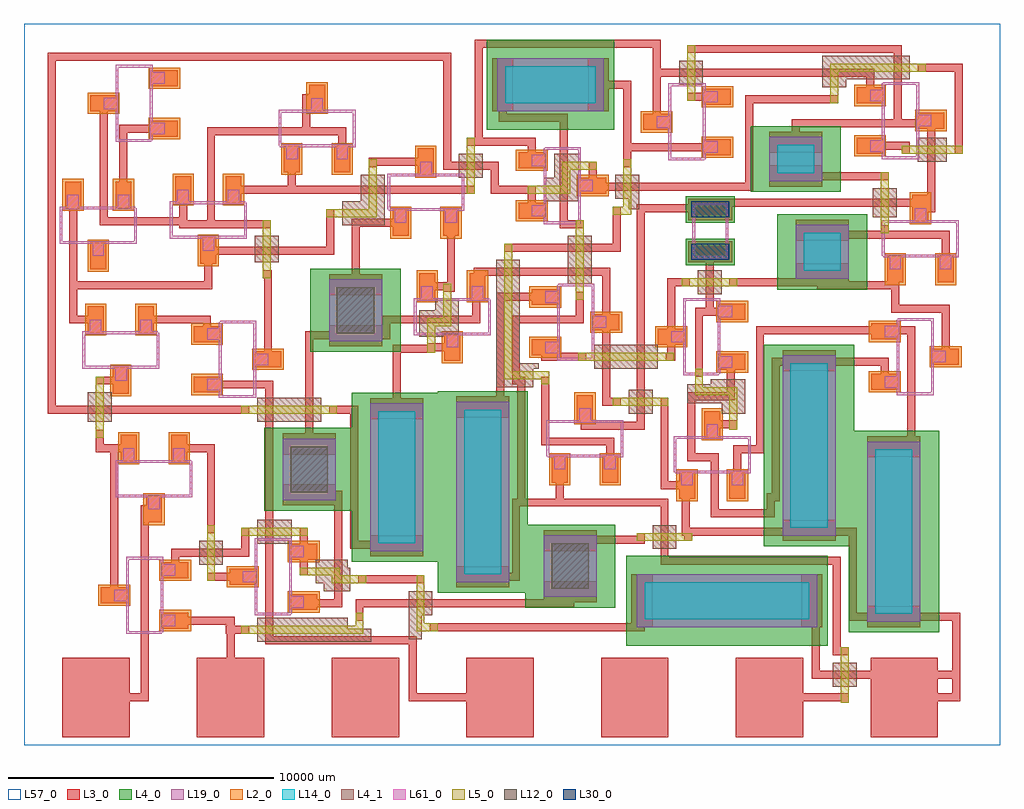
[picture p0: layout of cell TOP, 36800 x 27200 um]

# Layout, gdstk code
from math import pi, radians
import gdstk
lib = gdstk.Library(unit=1e-6, precision=1e-09)
def R(c, l, rs):  # rectangles x0, y0, x1, y1
    for r in rs: c.add(gdstk.rectangle(r[:2], r[2:], *l))
def A(c, l, x, y, w, h, nx, ny, dx, dy):  # array of equal rectangles
    R(c, l, [(x+i*dx, y+j*dy, x+i*dx+w, y+j*dy+h) for i in range(nx) for j in range(ny)])
def P(c, l, *ps):  # polygons
    for p in ps: c.add(gdstk.Polygon(p, *l))
L2_0 = (2, 0)
L3_0 = (3, 0)
L4_0 = (4, 0)
L4_1 = (4, 1)
L5_0 = (5, 0)
L12_0 = (12, 0)
L14_0 = (14, 0)
L19_0 = (19, 0)
L30_0 = (30, 0)
L57_0 = (57, 0)
L61_0 = (61, 0)

c_r1 = lib.new_cell('R1')
R(c_r1, L3_0, [(-2984,-1000,-2184,1000), (2184,-1000,2984,1000)])
R(c_r1, L4_0, [(-3184,-1700,3184,1700)])
R(c_r1, L14_0, [(-2484,-700,2484,700)])
R(c_r1, L19_0, [(-2784,-1000,2784,1000)])

c_r2 = lib.new_cell('R2')
R(c_r2, L3_0, [(-1360,-1000,-560,1000), (560,-1000,1360,1000)])
R(c_r2, L4_0, [(-1560,-1700,1560,1700)])
R(c_r2, L12_0, [(-860,-700,860,700)])
R(c_r2, L19_0, [(-1160,-1000,1160,1000)])

c_r3 = lib.new_cell('R3')
R(c_r3, L3_0, [(-3600,-1000,-2800,1000), (2800,-1000,3600,1000)])
R(c_r3, L4_0, [(-3800,-1700,3800,1700)])
R(c_r3, L14_0, [(-3100,-700,3100,700)])
R(c_r3, L19_0, [(-3400,-1000,3400,1000)])

c_r4 = lib.new_cell('R4')
R(c_r4, L3_0, [(-3600,-1000,-2800,1000), (2800,-1000,3600,1000)])
R(c_r4, L4_0, [(-3800,-1700,3800,1700)])
R(c_r4, L14_0, [(-3100,-700,3100,700)])
R(c_r4, L19_0, [(-3400,-1000,3400,1000)])

c_r5 = lib.new_cell('R5')
R(c_r5, L3_0, [(-1220,-1000,-420,1000), (420,-1000,1220,1000)])
R(c_r5, L4_0, [(-1420,-1700,1420,1700)])
R(c_r5, L14_0, [(-720,-700,720,700)])
R(c_r5, L19_0, [(-1020,-1000,1020,1000)])

c_r6 = lib.new_cell('R6')
R(c_r6, L3_0, [(-1035,-1000,-235,1000), (235,-1000,1035,1000)])
R(c_r6, L4_0, [(-1235,-1700,1235,1700)])
R(c_r6, L14_0, [(-535,-700,535,700)])
R(c_r6, L19_0, [(-835,-1000,835,1000)])

c_r7 = lib.new_cell('R7')
R(c_r7, L3_0, [(-2200,-1000,-1400,1000), (1400,-1000,2200,1000)])
R(c_r7, L4_0, [(-2400,-1700,2400,1700)])
R(c_r7, L14_0, [(-1700,-700,1700,700)])
R(c_r7, L19_0, [(-2000,-1000,2000,1000)])

c_r8 = lib.new_cell('R8')
R(c_r8, L3_0, [(-3600,-1000,-2800,1000), (2800,-1000,3600,1000)])
R(c_r8, L4_0, [(-3800,-1700,3800,1700)])
R(c_r8, L14_0, [(-3100,-700,3100,700)])
R(c_r8, L19_0, [(-3400,-1000,3400,1000)])

c_r9 = lib.new_cell('R9')
R(c_r9, L3_0, [(-1360,-1000,-560,1000), (560,-1000,1360,1000)])
R(c_r9, L4_0, [(-1560,-1700,1560,1700)])
R(c_r9, L12_0, [(-860,-700,860,700)])
R(c_r9, L19_0, [(-1160,-1000,1160,1000)])

r10 = lib.new_cell('R10')
R(r10, L3_0, [(-3600,-1000,-2800,1000), (2800,-1000,3600,1000)])
R(r10, L4_0, [(-3800,-1700,3800,1700)])
R(r10, L14_0, [(-3100,-700,3100,700)])
R(r10, L19_0, [(-3400,-1000,3400,1000)])

r11 = lib.new_cell('R11')
R(r11, L3_0, [(-1360,-1000,-560,1000), (560,-1000,1360,1000)])
R(r11, L4_0, [(-1560,-1700,1560,1700)])
R(r11, L12_0, [(-860,-700,860,700)])
R(r11, L19_0, [(-1160,-1000,1160,1000)])

eia_0805 = lib.new_cell('EIA-0805')
R(eia_0805, L3_0, [(-200,-200,600,1450), (1400,-200,2200,1450)])
R(eia_0805, L4_0, [(-300,-300,700,1550), (1300,-300,2300,1550)])
R(eia_0805, L30_0, [(-100,-100,500,1350), (1500,-100,2100,1350)])
eia_0805.add(gdstk.FlexPath([(0,0),(2000,0),(2000,1250),(0,1250),(0,0)], 100, ends="flush", simple_path=True, layer=61, datatype=0))  # L61_0
eia_0805.add(gdstk.Label('C', (1000,625), layer=62, texttype=0))

sot_23 = lib.new_cell('SOT-23')
R(sot_23, L2_0, [(50,-1100,850,100), (1950,-1100,2750,100), (1000,1200,1800,2400)])
R(sot_23, L3_0, [(150,-1000,750,0), (2050,-1000,2650,0), (1100,1300,1700,2300)])
R(sot_23, L61_0, [(235,-500,665,-150), (2135,-500,2565,-150), (235,-150,665,0), (2135,-150,2565,0), (1185,1300,1615,1450), (1185,1450,1615,1800)])
sot_23.add(gdstk.FlexPath([(0,0),(2800,0),(2800,1300),(0,1300),(0,0)], 100, ends="flush", simple_path=True, layer=61, datatype=0))  # L61_0
sot_23.add(gdstk.Label('1', (360,-650), layer=3, texttype=0))
sot_23.add(gdstk.Label('2', (2260,-650), layer=3, texttype=0))
sot_23.add(gdstk.Label('3', (1310,1650), layer=3, texttype=0))
sot_23.add(gdstk.Label('U', (1400,650), layer=62, texttype=0))

top = lib.new_cell('TOP')
A(top, L3_0, 7240, -21500, 2540, 3000, 7, 1, 5080, 0)
R(top, L3_0, [(36600,-20200,36900,-19900), (36600,-18400,36900,-18100), (14000,-17600,14300,-17300), (21100,-17500,21400,-17200), (18300,-17100,18600,-16800), (18400,-15700,18700,-15400), (20600,-15700,20900,-15400), (12700,-15600,13000,-15300), (16200,-15400,16500,-15100), (28900,-14100,29200,-13800), (30700,-14100,31000,-13800), (14000,-13900,14300,-13600), (16200,-13900,16500,-13600), (12700,-13800,13000,-13500), (8500,-10200,8800,-9900), (32400,-9900,32700,-9600), (14000,-9300,14300,-9000), (17300,-9300,17600,-9000), (28000,-9000,28300,-8700), (29800,-9000,30100,-8700), (8500,-8200,8800,-7900), (25300,-8200,25600,-7900), (31100,-7900,31400,-7600), (26700,-7300,27000,-7000), (30000,-7300,30300,-7000), (21000,-7000,21300,-6700), (26600,-5000,26900,-4700), (21600,-4700,21900,-4400), (30600,-4500,30900,-4200), (32400,-4500,32700,-4200), (14800,-4200,15100,-3900), (23900,-3200,24200,-2900), (38100,-2500,38400,-2200), (14800,-2300,15100,-2000), (26600,-2300,26900,-2000), (17200,-1900,17500,-1600), (28000,-1800,28300,-1500), (22500,-1000,22800,-700), (24800,-1000,25100,-700), (38100,-500,38400,-200), (27100,-100,27400,200), (18800,0,19100,300), (28400,0,28700,300), (38900,500,39200,800), (40900,500,41200,800), (22500,800,22800,1100), (36200,2400,36500,2700), (30800,2500,31100,2800), (39500,3600,39800,3900), (30800,4300,31100,4600)])
R(top, L4_1, [(36300,-19600,37200,-18700), (12400,-15000,13300,-14100), (29500,-14400,30400,-13500), (14600,-14200,15900,-13300), (8200,-9600,9100,-8500), (14600,-9600,17000,-8700), (28600,-9300,29500,-8400), (27300,-7600,29700,-6700), (31200,-4800,32100,-3900), (26300,-4400,27200,-2600), (14500,-3600,15400,-2600), (37800,-1900,38700,-800), (22200,-400,23100,500), (39500,200,40600,1100), (30500,3100,31400,4000)])
P(top, L4_1, [(32100,-8900),(30800,-8900),(30800,-8200),(31700,-8200),(31700,-8000),(33000,-8000),(33000,-9300),(32100,-9300)],
  [(20700,-6400),(20700,-5400),(21300,-5400),(21300,-5000),(22200,-5000),(22200,-6300),(21600,-6300),(21600,-6400)],
  [(14600,-17900),(14600,-17000),(18000,-17000),(18000,-17400),(18900,-17400),(18900,-17900)],
  [(28600,-1600),(28600,-1200),(28100,-1200),(28100,-300),(29000,-300),(29000,-1600)],
  [(25000,-8300),(23600,-8300),(23600,-3500),(24500,-3500),(24500,-7400),(25200,-7400),(25200,-7600),(25000,-7600)],
  [(17800,-2200),(17800,-1300),(18500,-1300),(18500,-300),(19400,-300),(19400,-2200)],
  [(18100,-16000),(17100,-16000),(17100,-15700),(16800,-15700),(16800,-14800),(18000,-14800),(18000,-15100),(18100,-15100)],
  [(21200,-16000),(21200,-16900),(20800,-16900),(20800,-17800),(20300,-17800),(20300,-16000)],
  [(25400,-1300),(25400,-400),(25800,-400),(25800,500),(26800,500),(26800,-400),(26700,-400),(26700,-1300)],
  [(35900,3000),(35900,4200),(39200,4200),(39200,3300),(36800,3300),(36800,3000)])
R(top, L5_0, [(36600,-20200,36900,-19900), (36600,-18400,36900,-18100), (14000,-17600,14300,-17300), (21100,-17500,21400,-17200), (18300,-17100,18600,-16800), (18400,-15700,18700,-15400), (20600,-15700,20900,-15400), (12700,-15600,13000,-15300), (16200,-15400,16500,-15100), (28900,-14100,29200,-13800), (30700,-14100,31000,-13800), (14000,-13900,14300,-13600), (16200,-13900,16500,-13600), (12700,-13800,13000,-13500), (8500,-10200,8800,-9900), (32400,-9900,32700,-9600), (14000,-9300,14300,-9000), (17300,-9300,17600,-9000), (28000,-9000,28300,-8700), (29800,-9000,30100,-8700), (8500,-8200,8800,-7900), (25300,-8200,25600,-7900), (31100,-7900,31400,-7600), (26700,-7300,27000,-7000), (30000,-7300,30300,-7000), (21000,-7000,21300,-6700), (26600,-5000,26900,-4700), (21600,-4700,21900,-4400), (30600,-4500,30900,-4200), (32400,-4500,32700,-4200), (14800,-4200,15100,-3900), (23900,-3200,24200,-2900), (38100,-2500,38400,-2200), (14800,-2300,15100,-2000), (26600,-2300,26900,-2000), (17200,-1900,17500,-1600), (28000,-1800,28300,-1500), (22500,-1000,22800,-700), (24800,-1000,25100,-700), (38100,-500,38400,-200), (27100,-100,27400,200), (18800,0,19100,300), (28400,0,28700,300), (38900,500,39200,800), (40900,500,41200,800), (22500,800,22800,1100), (36200,2400,36500,2700), (30800,2500,31100,2800), (39500,3600,39800,3900), (30800,4300,31100,4600)])
R(top, L57_0, [(5800,-21800,42600,5400)])
top.add(gdstk.FlexPath([(12700,-6300),(12700,-5750),(10400,-5750)], 300, ends="round", simple_path=True, layer=3, datatype=0))  # L3_0
top.add(gdstk.FlexPath([(20000,-2100),(18300,-2100),(18300,-4440)], 300, ends="round", simple_path=True, layer=3, datatype=0))  # L3_0
top.add(gdstk.FlexPath([(9550,-1050),(9550,1450),(11100,1450)], 300, ends="round", simple_path=True, layer=3, datatype=0))  # L3_0
top.add(gdstk.FlexPath([(16350,-16450),(17650,-16450),(17650,-12350),(16550,-12350)], 300, ends="round", simple_path=True, layer=3, datatype=0))  # L3_0
top.add(gdstk.FlexPath([(25450,-4900),(23750,-4900),(23750,-9050),(23100,-9050)], 300, ends="round", simple_path=True, layer=3, datatype=0))  # L3_0
top.add(gdstk.FlexPath([(32450,-7350),(32450,-8650),(30950,-8650),(30950,-10950),(31850,-10950),(31850,-13050),(33950,-13050),(33950,-12450),(34150,-12450),(34150,-7350),(38250,-7350),(38250,-8150)], 300, ends="round", simple_path=True, layer=3, datatype=0))  # L3_0
top.add(gdstk.FlexPath([(14050,-15450),(12850,-15450)], 300, ends="round", simple_path=True, layer=3, datatype=0))  # L3_0
top.add(gdstk.FlexPath([(12850,-13650),(12850,-10600),(11650,-10600)], 300, ends="round", simple_path=True, layer=3, datatype=0))  # L3_0
top.add(gdstk.FlexPath([(31750,-9700),(32550,-9700)], 300, ends="round", simple_path=True, layer=3, datatype=0))  # L3_0
top.add(gdstk.FlexPath([(31250,-7750),(31250,-5450),(32500,-5450)], 300, ends="round", simple_path=True, layer=3, datatype=0))  # L3_0
top.add(gdstk.FlexPath([(31650,-5450),(31650,-3250)], 300, ends="round", simple_path=True, layer=3, datatype=0))  # L3_0
top.add(gdstk.FlexPath([(9450,-8050),(8650,-8050)], 300, ends="round", simple_path=True, layer=3, datatype=0))  # L3_0
top.add(gdstk.FlexPath([(8650,-10050),(8650,-10600),(9750,-10600)], 300, ends="round", simple_path=True, layer=3, datatype=0))  # L3_0
top.add(gdstk.FlexPath([(9200,-10650),(9200,-16150)], 300, ends="round", simple_path=True, layer=3, datatype=0))  # L3_0
top.add(gdstk.FlexPath([(21000,-4500),(21750,-4500)], 300, ends="round", simple_path=True, layer=3, datatype=0))  # L3_0
top.add(gdstk.FlexPath([(21150,-6800),(21950,-6800)], 300, ends="round", simple_path=True, layer=3, datatype=0))  # L3_0
top.add(gdstk.FlexPath([(21750,-4550),(21900,-4550),(21900,-2100)], 300, ends="round", simple_path=True, layer=3, datatype=0))  # L3_0
top.add(gdstk.FlexPath([(21150,-6850),(19850,-6850),(19850,-9116)], 300, ends="round", simple_path=True, layer=3, datatype=0))  # L3_0
top.add(gdstk.FlexPath([(40550,-3850),(40550,-2550),(35850,-2550)], 300, ends="round", simple_path=True, layer=3, datatype=0))  # L3_0
top.add(gdstk.FlexPath([(38250,-350),(34850,-350)], 300, ends="round", simple_path=True, layer=3, datatype=0))  # L3_0
top.add(gdstk.FlexPath([(8510,-20000),(10350,-20000),(10350,-12900),(10700,-12900)], 300, ends="round", simple_path=True, layer=3, datatype=0))  # L3_0
top.add(gdstk.FlexPath([(32700,-12000),(32700,-10650),(33550,-10650),(33550,-6150),(39250,-6150),(39250,-10550),(38600,-10550)], 300, ends="round", simple_path=True, layer=3, datatype=0))  # L3_0
top.add(gdstk.FlexPath([(30200,-7150),(30200,-4350),(30750,-4350)], 300, ends="round", simple_path=True, layer=3, datatype=0))  # L3_0
top.add(gdstk.FlexPath([(26850,-7150),(25450,-7150),(25450,-6800)], 300, ends="round", simple_path=True, layer=3, datatype=0))  # L3_0
top.add(gdstk.FlexPath([(32550,-4350),(35900,-4350),(35900,-4020)], 300, ends="round", simple_path=True, layer=3, datatype=0))  # L3_0
top.add(gdstk.FlexPath([(35850,-4450),(38650,-4450),(38650,-3850)], 300, ends="round", simple_path=True, layer=3, datatype=0))  # L3_0
top.add(gdstk.FlexPath([(38650,-4450),(38650,-5350),(40550,-5350),(40550,-7150)], 300, ends="round", simple_path=True, layer=3, datatype=0))  # L3_0
top.add(gdstk.FlexPath([(15000,-7250),(15000,-4050)], 300, ends="round", simple_path=True, layer=3, datatype=0))  # L3_0
top.add(gdstk.FlexPath([(14950,-2150),(11800,-2150),(11800,-850)], 300, ends="round", simple_path=True, layer=3, datatype=0))  # L3_0
top.add(gdstk.FlexPath([(11750,-2050),(8800,-2050),(8800,2400)], 300, ends="round", simple_path=True, layer=3, datatype=0))  # L3_0
top.add(gdstk.FlexPath([(12850,-2150),(12850,1350),(17800,1350),(17800,300)], 300, ends="round", simple_path=True, layer=3, datatype=0))  # L3_0
top.add(gdstk.FlexPath([(16450,1350),(16450,2600),(16850,2600)], 300, ends="round", simple_path=True, layer=3, datatype=0))  # L3_0
top.add(gdstk.FlexPath([(13590,-20000),(13590,-17100),(11500,-17100)], 300, ends="round", simple_path=True, layer=3, datatype=0))  # L3_0
top.add(gdstk.FlexPath([(13550,-17450),(14150,-17450)], 300, ends="round", simple_path=True, layer=3, datatype=0))  # L3_0
top.add(gdstk.FlexPath([(18450,-16950),(18450,-16450),(26400,-16450),(26400,-16010)], 300, ends="round", simple_path=True, layer=3, datatype=0))  # L3_0
top.add(gdstk.FlexPath([(31950,750),(28550,750),(28550,3100),(27450,3100)], 300, ends="round", simple_path=True, layer=3, datatype=0))  # L3_0
top.add(gdstk.FlexPath([(28550,750),(28550,150)], 300, ends="round", simple_path=True, layer=3, datatype=0))  # L3_0
top.add(gdstk.FlexPath([(28150,-1650),(28150,-3050),(24050,-3050)], 300, ends="round", simple_path=True, layer=3, datatype=0))  # L3_0
top.add(gdstk.FlexPath([(25450,-8050),(25450,-10350),(27900,-10350),(27900,-11400)], 300, ends="round", simple_path=True, layer=3, datatype=0))  # L3_0
top.add(gdstk.FlexPath([(8500,-5750),(7650,-5750),(7650,-1050)], 300, ends="round", simple_path=True, layer=3, datatype=0))  # L3_0
top.add(gdstk.FlexPath([(7650,-4450),(12750,-4450),(12750,-3150),(17350,-3150),(17350,-1750)], 300, ends="round", simple_path=True, layer=3, datatype=0))  # L3_0
top.add(gdstk.FlexPath([(18950,200),(20950,200)], 300, ends="round", simple_path=True, layer=3, datatype=0))  # L3_0
top.add(gdstk.FlexPath([(16350,-13750),(16350,-15250)], 300, ends="round", simple_path=True, layer=3, datatype=0))  # L3_0
top.add(gdstk.FlexPath([(14150,-13750),(14150,-14550),(11500,-14550),(11500,-15200)], 300, ends="round", simple_path=True, layer=3, datatype=0))  # L3_0
top.add(gdstk.FlexPath([(18550,-15550),(20750,-15550)], 300, ends="round", simple_path=True, layer=3, datatype=0))  # L3_0
top.add(gdstk.FlexPath([(21250,-17350),(29050,-17350),(29050,-16350)], 300, ends="round", simple_path=True, layer=3, datatype=0))  # L3_0
top.add(gdstk.FlexPath([(23750,-20000),(20450,-20000),(20450,-17850),(15050,-17850),(15050,-8200),(12700,-8200)], 300, ends="round", simple_path=True, layer=3, datatype=0))  # L3_0
top.add(gdstk.FlexPath([(40000,1750),(40000,-1550),(39600,-1550)], 300, ends="round", simple_path=True, layer=3, datatype=0))  # L3_0
top.add(gdstk.FlexPath([(39950,1650),(34900,1650),(34900,935)], 300, ends="round", simple_path=True, layer=3, datatype=0))  # L3_0
top.add(gdstk.FlexPath([(38750,1650),(38750,4450),(30950,4450)], 300, ends="round", simple_path=True, layer=3, datatype=0))  # L3_0
top.add(gdstk.FlexPath([(30950,2650),(31950,2650)], 300, ends="round", simple_path=True, layer=3, datatype=0))  # L3_0
top.add(gdstk.FlexPath([(39950,-1350),(31675,-1350),(31675,-1600)], 300, ends="round", simple_path=True, layer=3, datatype=0))  # L3_0
top.add(gdstk.FlexPath([(31650,-1550),(29050,-1550),(29050,-9750),(26950,-9750),(26950,-9100)], 300, ends="round", simple_path=True, layer=3, datatype=0))  # L3_0
top.add(gdstk.FlexPath([(15900,300),(15900,-850),(13700,-850)], 300, ends="round", simple_path=True, layer=3, datatype=0))  # L3_0
top.add(gdstk.FlexPath([(15850,-850),(22650,-850)], 300, ends="round", simple_path=True, layer=3, datatype=0))  # L3_0
top.add(gdstk.FlexPath([(22650,950),(24950,950),(24950,250)], 300, ends="round", simple_path=True, layer=3, datatype=0))  # L3_0
top.add(gdstk.FlexPath([(22950,950),(22950,4650),(29650,4650),(29650,1700)], 300, ends="round", simple_path=True, layer=3, datatype=0))  # L3_0
top.add(gdstk.FlexPath([(29650,3550),(37700,3550),(37700,2700)], 300, ends="round", simple_path=True, layer=3, datatype=0))  # L3_0
top.add(gdstk.FlexPath([(24950,-1650),(24950,-850)], 300, ends="round", simple_path=True, layer=3, datatype=0))  # L3_0
top.add(gdstk.FlexPath([(27250,50),(27250,-700)], 300, ends="round", simple_path=True, layer=3, datatype=0))  # L3_0
top.add(gdstk.FlexPath([(27250,-750),(33150,-750),(33150,2550),(36350,2550)], 300, ends="round", simple_path=True, layer=3, datatype=0))  # L3_0
top.add(gdstk.FlexPath([(39650,3750),(41050,3750),(41050,650)], 300, ends="round", simple_path=True, layer=3, datatype=0))  # L3_0
top.add(gdstk.FlexPath([(39050,650),(39050,800),(37700,800)], 300, ends="round", simple_path=True, layer=3, datatype=0))  # L3_0
top.add(gdstk.FlexPath([(24950,-850),(23550,-850),(23550,50),(21750,50),(21750,4150),(6850,4150),(6850,-9150),(14150,-9150)], 300, ends="round", simple_path=True, layer=3, datatype=0))  # L3_0
top.add(gdstk.FlexPath([(17450,-9150),(18250,-9150),(18250,-14250),(19850,-14250)], 300, ends="round", simple_path=True, layer=3, datatype=0))  # L3_0
top.add(gdstk.FlexPath([(33910,-20000),(36750,-20000)], 300, ends="round", simple_path=True, layer=3, datatype=0))  # L3_0
top.add(gdstk.FlexPath([(36750,-18250),(36450,-18250),(36450,-14850),(29950,-14850),(29950,-12650),(26000,-12650),(26000,-11400)], 300, ends="round", simple_path=True, layer=3, datatype=0))  # L3_0
top.add(gdstk.FlexPath([(25950,-12650),(24350,-12650),(24350,-15450),(23050,-15450)], 300, ends="round", simple_path=True, layer=3, datatype=0))  # L3_0
top.add(gdstk.FlexPath([(24650,-12650),(24550,-12650),(24550,-8050),(24350,-8050),(24350,-5750),(26750,-5750),(26750,-4850)], 300, ends="round", simple_path=True, layer=3, datatype=0))  # L3_0
top.add(gdstk.FlexPath([(26750,-2150),(26150,-2150),(26150,1850),(23850,1850),(23850,3050)], 300, ends="round", simple_path=True, layer=3, datatype=0))  # L3_0
top.add(gdstk.FlexPath([(38990,-20000),(40950,-20000),(40950,-16950),(37050,-16950),(37050,-13750),(30750,-13750),(30750,-12050)], 300, ends="round", simple_path=True, layer=3, datatype=0))  # L3_0
top.add(gdstk.FlexPath([(40950,-19150),(35650,-19150),(35650,-16350),(35500,-16350)], 300, ends="round", simple_path=True, layer=3, datatype=0))  # L3_0
top.add(gdstk.FlexPath([(29050,-13950),(29050,-14050),(26350,-14050)], 300, ends="round", simple_path=True, layer=3, datatype=0))  # L3_0
top.add(gdstk.FlexPath([(30800,-12000),(29950,-12000),(29950,-8850)], 300, ends="round", simple_path=True, layer=3, datatype=0))  # L3_0
top.add(gdstk.FlexPath([(28150,-8850),(27750,-8850),(27750,-3950),(22900,-3950),(22900,-4500)], 300, ends="round", simple_path=True, layer=3, datatype=0))  # L3_0
top.add(gdstk.FlexPath([(22850,-4550),(22850,-5750),(19450,-5750),(19450,-6350),(16550,-6350),(16550,-10450)], 300, ends="round", simple_path=True, layer=3, datatype=0))  # L3_0
top.add(gdstk.FlexPath([(12850,-15450),(12850,-13650)], 300, ends="round", simple_path=True, layer=5, datatype=0))  # L5_0
top.add(gdstk.FlexPath([(32550,-9750),(32550,-8450),(31250,-8450),(31250,-7750)], 300, ends="round", simple_path=True, layer=5, datatype=0))  # L5_0
top.add(gdstk.FlexPath([(8650,-8050),(8650,-10050)], 300, ends="round", simple_path=True, layer=5, datatype=0))  # L5_0
top.add(gdstk.FlexPath([(21750,-4550),(21750,-5850),(21150,-5850),(21150,-6850)], 300, ends="round", simple_path=True, layer=5, datatype=0))  # L5_0
top.add(gdstk.FlexPath([(38250,-2350),(38250,-350)], 300, ends="round", simple_path=True, layer=5, datatype=0))  # L5_0
top.add(gdstk.FlexPath([(30150,-7150),(26850,-7150)], 300, ends="round", simple_path=True, layer=5, datatype=0))  # L5_0
top.add(gdstk.FlexPath([(30750,-4350),(32550,-4350)], 300, ends="round", simple_path=True, layer=5, datatype=0))  # L5_0
top.add(gdstk.FlexPath([(14950,-4050),(14950,-2150)], 300, ends="round", simple_path=True, layer=5, datatype=0))  # L5_0
top.add(gdstk.FlexPath([(14150,-17450),(18450,-17450),(18450,-16950)], 300, ends="round", simple_path=True, layer=5, datatype=0))  # L5_0
top.add(gdstk.FlexPath([(28550,150),(28550,-1650),(28150,-1650)], 300, ends="round", simple_path=True, layer=5, datatype=0))  # L5_0
top.add(gdstk.FlexPath([(24050,-3050),(24050,-7850),(25450,-7850),(25450,-8050)], 300, ends="round", simple_path=True, layer=5, datatype=0))  # L5_0
top.add(gdstk.FlexPath([(17350,-1750),(18950,-1750),(18950,150)], 300, ends="round", simple_path=True, layer=5, datatype=0))  # L5_0
top.add(gdstk.FlexPath([(16350,-13750),(14150,-13750)], 300, ends="round", simple_path=True, layer=5, datatype=0))  # L5_0
top.add(gdstk.FlexPath([(16350,-15250),(17550,-15250),(17550,-15550),(18550,-15550)], 300, ends="round", simple_path=True, layer=5, datatype=0))  # L5_0
top.add(gdstk.FlexPath([(20750,-15550),(20750,-17350),(21250,-17350)], 300, ends="round", simple_path=True, layer=5, datatype=0))  # L5_0
top.add(gdstk.FlexPath([(30950,4450),(30950,2650)], 300, ends="round", simple_path=True, layer=5, datatype=0))  # L5_0
top.add(gdstk.FlexPath([(22650,-850),(22650,950)], 300, ends="round", simple_path=True, layer=5, datatype=0))  # L5_0
top.add(gdstk.FlexPath([(24950,-850),(26250,-850),(26250,50),(27250,50)], 300, ends="round", simple_path=True, layer=5, datatype=0))  # L5_0
top.add(gdstk.FlexPath([(36350,2550),(36350,3750),(39650,3750)], 300, ends="round", simple_path=True, layer=5, datatype=0))  # L5_0
top.add(gdstk.FlexPath([(41050,650),(39050,650)], 300, ends="round", simple_path=True, layer=5, datatype=0))  # L5_0
top.add(gdstk.FlexPath([(14150,-9150),(17450,-9150)], 300, ends="round", simple_path=True, layer=5, datatype=0))  # L5_0
top.add(gdstk.FlexPath([(36750,-20050),(36750,-18250)], 300, ends="round", simple_path=True, layer=5, datatype=0))  # L5_0
top.add(gdstk.FlexPath([(26750,-4850),(26750,-2150)], 300, ends="round", simple_path=True, layer=5, datatype=0))  # L5_0
top.add(gdstk.FlexPath([(30850,-13950),(29050,-13950)], 300, ends="round", simple_path=True, layer=5, datatype=0))  # L5_0
top.add(gdstk.FlexPath([(29950,-8850),(28150,-8850)], 300, ends="round", simple_path=True, layer=5, datatype=0))  # L5_0
top.add(gdstk.Reference(c_r1, (19850,-11700), rotation=pi/2))
top.add(gdstk.Reference(c_r2, (18300,-5400), rotation=3*pi/2))
top.add(gdstk.Reference(c_r3, (35400,-10500), rotation=3*pi/2))
top.add(gdstk.Reference(c_r4, (38600,-13750), rotation=3*pi/2))
top.add(gdstk.Reference(c_r5, (35900,-3200), rotation=3*pi/2))
top.add(gdstk.Reference(c_r6, (34900,300), rotation=3*pi/2))
top.add(gdstk.Reference(c_r7, (25650,3100), rotation=pi))
top.add(gdstk.Reference(c_r8, (23100,-12250), rotation=pi/2))
top.add(gdstk.Reference(c_r9, (16550,-11400), rotation=pi/2))
top.add(gdstk.Reference(r10, (32300,-16350)))
top.add(gdstk.Reference(r11, (26400,-15050), rotation=pi/2))
top.add(gdstk.Reference(eia_0805, (31050,-1400), rotation=3*pi/2))
top.add(gdstk.Reference(sot_23, (13200,-5850), rotation=3*pi/2))
top.add(gdstk.Reference(sot_23, (10850,-6250), rotation=pi))
top.add(gdstk.Reference(sot_23, (15850,-16850), rotation=pi/2))
top.add(gdstk.Reference(sot_23, (11000,-17550), rotation=pi/2))
top.add(gdstk.Reference(sot_23, (23350,-5000), rotation=pi))
top.add(gdstk.Reference(sot_23, (19550,-1600)))
top.add(gdstk.Reference(sot_23, (15450,800)))
top.add(gdstk.Reference(sot_23, (14150,-1350), rotation=pi))
top.add(gdstk.Reference(sot_23, (25450,700), rotation=3*pi/2))
top.add(gdstk.Reference(sot_23, (38200,3150), rotation=3*pi/2))
top.add(gdstk.Reference(sot_23, (30350,-11500)))
top.add(gdstk.Reference(sot_23, (32000,-7800), rotation=pi/2))
top.add(gdstk.Reference(sot_23, (38750,-5750), rotation=3*pi/2))
top.add(gdstk.Reference(sot_23, (38200,-3350)))
top.add(gdstk.Reference(sot_23, (31450,300), rotation=pi/2))
top.add(gdstk.Reference(sot_23, (25550,-10900)))
top.add(gdstk.Reference(sot_23, (25950,-4450), rotation=3*pi/2))
top.add(gdstk.Reference(sot_23, (10000,-1550), rotation=pi))
top.add(gdstk.Reference(sot_23, (12100,-11100), rotation=pi))
top.add(gdstk.Reference(sot_23, (10600,1000), rotation=pi/2))

lib.write_gds('TOP.gds')
